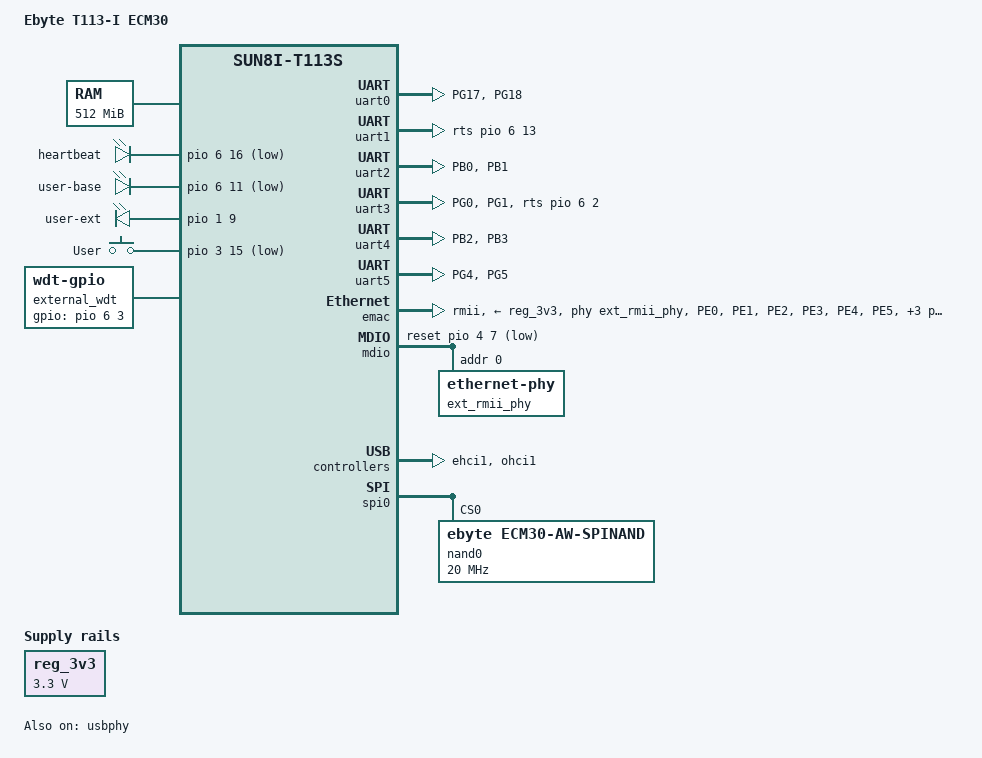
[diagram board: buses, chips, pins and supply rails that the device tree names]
// SPDX-License-Identifier: (GPL-2.0-only OR MIT)
/dts-v1/;

/* Keep the stock OP-TEE shared memory, OS and TA regions out of Linux. */
/memreserve/ 0x41900000 0x00700000;

#include "allwinner/sun8i-t113s.dtsi"
#include <dt-bindings/gpio/gpio.h>
#include <dt-bindings/input/input.h>

/ {
	model = "Ebyte T113-I ECM30";
	compatible = "ebyte,ecm30", "allwinner,sun8i-t113s";

	aliases {
		ethernet0 = &emac;
		serial0 = &uart0;
		serial1 = &uart1;
		serial2 = &uart2;
		serial3 = &uart3;
		serial4 = &uart4;
		serial5 = &uart5;
		watchdog0 = &external_wdt;
	};

	chosen {
		stdout-path = "serial0:115200n8";
		/* Keep early UART output within the external watchdog boot window. */
		bootargs = "console=ttyS0,115200 earlycon=uart8250,mmio32,0x02500000 ubi.mtd=sys,4096 ubi.block=0,rootfs root=/dev/ubiblock0_5 rootfstype=squashfs ro rootwait loglevel=3";
	};

	memory@40000000 {
		device_type = "memory";
		reg = <0x40000000 0x20000000>;
	};

	/* The stock boot chain provides PSCI through OP-TEE. */
	psci {
		compatible = "arm,psci-1.0";
		method = "smc";
	};

	/* Match timer_arch in the live vendor DT: firmware does not set CNTVOFF. */
	timer {
		clock-frequency = <24000000>;
		arm,cpu-registers-not-fw-configured;
		arm,no-tick-in-suspend;
	};

	reg_3v3: regulator-3v3 {
		compatible = "regulator-fixed";
		regulator-name = "vcc-3v3";
		regulator-min-microvolt = <3300000>;
		regulator-max-microvolt = <3300000>;
		regulator-always-on;
	};

	leds {
		compatible = "gpio-leds";

		led-heartbeat {
			label = "heartbeat";
			gpios = <&pio 6 16 GPIO_ACTIVE_LOW>;
			linux,default-trigger = "heartbeat";
		};

		led-user-base {
			label = "user-base";
			gpios = <&pio 6 11 GPIO_ACTIVE_LOW>;
			default-state = "off";
		};

		led-user-ext {
			label = "user-ext";
			gpios = <&pio 1 9 GPIO_ACTIVE_HIGH>;
			default-state = "off";
		};
	};

	keys {
		compatible = "gpio-keys";

		key-user {
			label = "User";
			linux,code = <KEY_PROG1>;
			gpios = <&pio 3 15 GPIO_ACTIVE_LOW>;
		};
	};

	external_wdt: watchdog {
		compatible = "linux,wdt-gpio";
		gpios = <&pio 6 3 GPIO_ACTIVE_HIGH>;
		hw_algo = "level";
		hw_margin_ms = <1600>;
		always-running;
	};
};

&cpu0 {
	enable-method = "psci";
};

&cpu1 {
	enable-method = "psci";
};

/* The common SoC DTS leaves the external crystal frequency to the board. */
&dcxo {
	clock-frequency = <24000000>;
};

&pio {
	vcc-pb-supply = <&reg_3v3>;
	vcc-pc-supply = <&reg_3v3>;
	vcc-pd-supply = <&reg_3v3>;
	vcc-pe-supply = <&reg_3v3>;
	vcc-pf-supply = <&reg_3v3>;
	vcc-pg-supply = <&reg_3v3>;

	/* Terminal names from the ECM30 pinout; offsets are bank * 32 + pin.
	 * Leave the application I/O lines free for the standard GPIO chardev.
	 */
	gpio-line-names =
		/* PA0-PA31 */
		"", "", "", "", "", "", "", "",
		"", "", "", "", "", "", "", "",
		"", "", "", "", "", "", "", "",
		"", "", "", "", "", "", "", "",
		/* PB0-PB31 */
		"", "", "", "", "Y0.0", "Y0.1", "Y0.2", "",
		"", "LED1", "", "", "", "", "", "",
		"", "", "", "", "", "", "", "",
		"", "", "", "", "", "", "", "",
		/* PC0-PC31 */
		"", "", "", "", "", "", "", "",
		"", "", "", "", "", "", "", "",
		"", "", "", "", "", "", "", "",
		"", "", "", "", "", "", "", "",
		/* PD0-PD31 */
		"", "", "", "", "", "", "", "",
		"", "", "", "", "", "", "", "KEY",
		"X0.0", "Y1.3", "Y1.2", "Y1.1", "", "Y1.0", "", "",
		"", "", "", "", "", "", "", "",
		/* PE0-PE31 */
		"", "", "", "", "", "", "", "",
		"", "", "X0.1", "", "", "", "", "X0.2",
		"X0.3", "", "", "", "", "", "", "",
		"", "", "", "", "", "", "", "",
		/* PF0-PF31 */
		"", "", "", "", "", "", "", "",
		"", "", "", "", "", "", "", "",
		"", "", "", "", "", "", "", "",
		"", "", "", "", "", "", "", "",
		/* PG0-PG31 */
		"", "", "RS485_1_DE", "WATCHDOG", "", "", "", "",
		"", "", "", "LED0", "", "RS485_0_DE", "", "",
		"RUN", "", "", "", "", "", "", "",
		"", "", "", "", "", "", "", "";

	uart0_pg_pins: uart0-pg-pins {
		pins = "PG17", "PG18";
		function = "uart0";
		bias-pull-up;
	};

	uart2_pb_pins: uart2-pb-pins {
		pins = "PB0", "PB1";
		function = "uart2";
		bias-pull-up;
	};

	uart3_pg_pins: uart3-pg-pins {
		pins = "PG0", "PG1";
		function = "uart3";
		bias-pull-up;
	};

	uart4_pb_pins: uart4-pb-pins {
		pins = "PB2", "PB3";
		function = "uart4";
		bias-pull-up;
	};

	uart5_pg_pins: uart5-pg-pins {
		pins = "PG4", "PG5";
		function = "uart5";
		bias-pull-up;
	};

	/* PE7 is the observed PHY reset GPIO, not an RMII data signal. */
	ecm30_rmii_pins: ecm30-rmii-pins {
		pins = "PE0", "PE1", "PE2", "PE3", "PE4", "PE5", "PE6", "PE8", "PE9";
		function = "emac";
		drive-strength = <20>;
	};
};

&uart0 {
	pinctrl-names = "default";
	pinctrl-0 = <&uart0_pg_pins>;
	status = "okay";
};

&uart1 {
	/* Isolated RS485 port 0: B0/A0, with active-high DE on PG13. */
	pinctrl-names = "default";
	pinctrl-0 = <&uart1_pg6_pins>;
	rts-gpios = <&pio 6 13 GPIO_ACTIVE_HIGH>;
	linux,rs485-enabled-at-boot-time;
	rs485-rts-active-high;
	rs485-rts-delay = <0 0>;
	status = "okay";
};

&uart2 {
	/* RS232 port 1: TXD1/RXD1. */
	pinctrl-names = "default";
	pinctrl-0 = <&uart2_pb_pins>;
	status = "okay";
};

&uart3 {
	/* Isolated RS485 port 1: B1/A1, with active-high DE on PG2. */
	pinctrl-names = "default";
	pinctrl-0 = <&uart3_pg_pins>;
	rts-gpios = <&pio 6 2 GPIO_ACTIVE_HIGH>;
	linux,rs485-enabled-at-boot-time;
	rs485-rts-active-high;
	rs485-rts-delay = <0 0>;
	status = "okay";
};

&uart4 {
	/* Internal converter for the four 4-20 mA inputs, not an RS232 port. */
	pinctrl-names = "default";
	pinctrl-0 = <&uart4_pb_pins>;
	status = "okay";
};

&uart5 {
	/* RS232 port 0: TXD0/RXD0. */
	pinctrl-names = "default";
	pinctrl-0 = <&uart5_pg_pins>;
	status = "okay";
};

&emac {
	pinctrl-names = "default";
	pinctrl-0 = <&ecm30_rmii_pins>;
	phy-handle = <&ext_rmii_phy>;
	phy-mode = "rmii";
	/* Stock tx-delay/rx-delay are one 100 ps hardware step each. */
	allwinner,tx-delay-ps = <100>;
	allwinner,rx-delay-ps = <100>;
	phy-supply = <&reg_3v3>;
	status = "okay";
};

&mdio {
	/* Release PE7 before reading the PHY ID, including after a warm boot. */
	reset-gpios = <&pio 4 7 GPIO_ACTIVE_LOW>;
	/* Stock geth_phy_init() holds reset low/high for 50 ms each. */
	reset-delay-us = <50000>;
	reset-post-delay-us = <50000>;

	/* Stock dmesg reports the active PHY at address 0, ID 937c4024. */
	ext_rmii_phy: ethernet-phy@0 {
		reg = <0>;
		max-speed = <100>;
		/* The PHY supplies the MAC's 50 MHz RMII reference. */
		jlsemi,rmii-refclk-out;
	};
};

&ehci1 {
	status = "okay";
};

&ohci1 {
	status = "okay";
};

&usbphy {
	status = "okay";
};

/* Native NAND stays private; expose the factory 8 KiB / 512 KiB layout. */
&spi0 {
	pinctrl-names = "default";
	pinctrl-0 = <&spi0_pins>;
	status = "okay";

	nand0: nand@0 {
		compatible = "ebyte,ecm30-aw-spinand", "spi-nand";
		reg = <0>;
		spi-max-frequency = <20000000>;
		spi-rx-bus-width = <1>;
		spi-tx-bus-width = <1>;
		nand-ecc-engine = <&nand0>;
	};
};

/* MMC2 remains disabled; the system boots from SPI NAND. */
